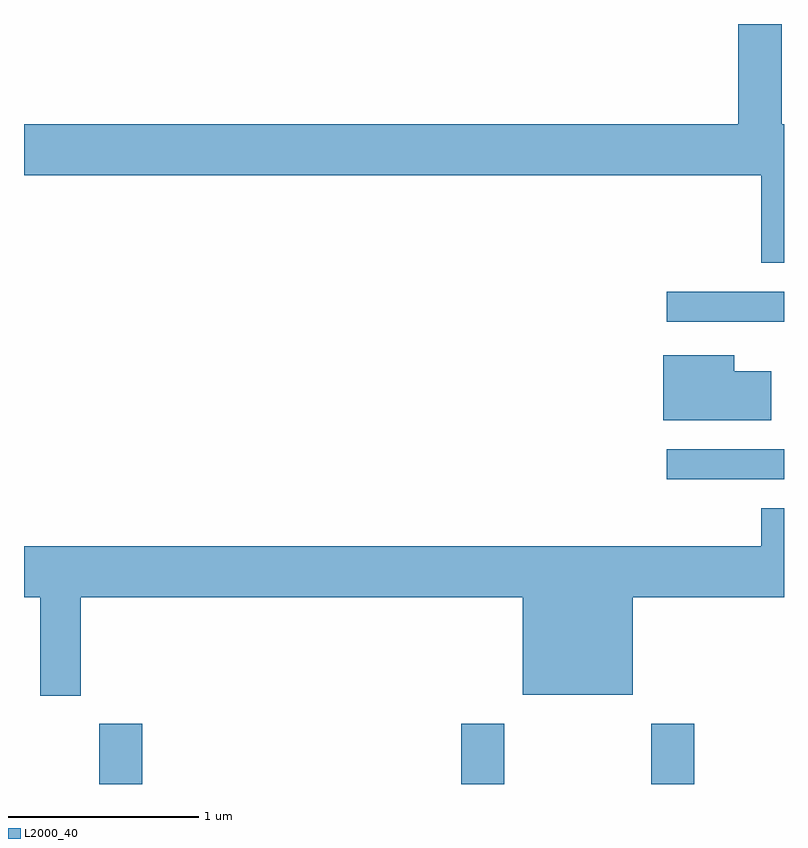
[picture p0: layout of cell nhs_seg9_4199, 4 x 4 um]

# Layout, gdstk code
import gdstk
lib = gdstk.Library(unit=1e-6, precision=1e-09)
def R(c, l, rs):  # rectangles x0, y0, x1, y1
    for r in rs: c.add(gdstk.rectangle(r[:2], r[2:], *l))
def P(c, l, *ps):  # polygons
    for p in ps: c.add(gdstk.Polygon(p, *l))
L2000_40 = (2000, 40)

nhs_seg9_4199 = lib.new_cell('nhs_seg9_4199')
R(nhs_seg9_4199, L2000_40, [(310.006,1946.432,310.234,1946.749), (311.911,1946.432,312.139,1946.749), (312.911,1946.432,313.139,1946.749), (312.993,1948.036,313.611,1948.194), (312.993,1948.866,313.611,1949.024)])
P(nhs_seg9_4199, L2000_40, [(313.611,1949.904),(313.599,1949.904),(313.599,1950.432),(313.371,1950.432),(313.371,1949.904),(309.611,1949.904),(309.611,1949.636),(313.491,1949.636),(313.491,1949.176),(313.611,1949.176)],
  [(313.544,1948.604),(313.349,1948.604),(313.349,1948.689),(312.976,1948.689),(312.976,1948.346),(313.544,1948.346)],
  [(309.909,1947.416),(312.236,1947.416),(312.236,1946.901),(312.814,1946.901),(312.814,1947.416),(313.611,1947.416),(313.611,1947.884),(313.491,1947.884),(313.491,1947.684),(309.611,1947.684),(309.611,1947.416),(309.696,1947.416),(309.696,1946.896),(309.909,1946.896)])

lib.write_gds('nhs_seg9_4199.gds')
